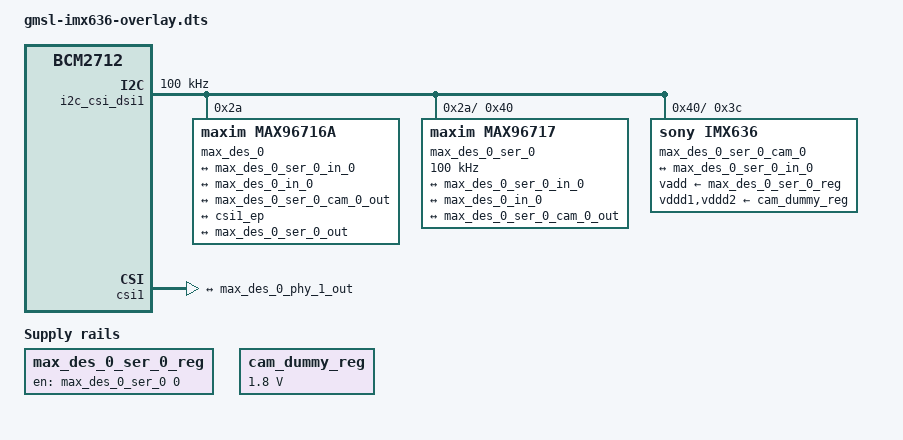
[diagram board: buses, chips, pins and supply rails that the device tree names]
/dts-v1/;
/plugin/;

/ {
    compatible = "brcm,bcm2712";

    fragment@0 {
        target = <&i2c_csi_dsi1>;
        __overlay__ {
            status = "okay";
            clock-frequency = <100000>;

            max_des_0: gmsl-deserializer@2a {
                compatible = "maxim,max96716a";
                reg = <0x2a>;
                #address-cells = <1>;
                #size-cells = <0>;
                i2c-alias-pool = <0x70 0x71 0x72 0x73>;

                max_des_0_i2c_adapter: i2c-atr {
                    #address-cells = <1>;
                    #size-cells = <0>;
                };

                ports {
                    #address-cells = <1>;
                    #size-cells = <0>;

                    port@3 {
                        reg = <3>;
                        max_des_0_phy_1_out: endpoint {
                            clock-lanes = <0>;
                            data-lanes = <1 2>;
                            link-frequencies = /bits/ 64 <750000000>;
                            remote-endpoint = <&csi1_ep>;
                        };
                    };

                    port@0 {
                        reg = <0>;
                        max_des_0_in_0: endpoint {
                            remote-endpoint = <&max_des_0_ser_0_out>;
                        };
                    };
                };
            };
        };
    };

    fragment@1 {
        target = <&csi1>;
        __overlay__ {
            status = "okay";
            brcm,media-controller;

            port {
                csi1_ep: endpoint {
                    remote-endpoint = <&max_des_0_phy_1_out>;
                    clock-lanes = <0>;
                    data-lanes = <1 2>;
                    link-frequencies = /bits/ 64 <750000000>;
                    clock-noncontinuous;
                };
            };
        };
    };

    fragment@2 {
        target = <&max_des_0_i2c_adapter>;
        __overlay__ {
            max_des_0_i2c_0: i2c@0 {
                reg = <0>;
                #address-cells = <1>;
                #size-cells = <0>;
            };
        };
    };

    fragment@3 {
        target = <&max_des_0_i2c_0>;
        __overlay__ {
            max_des_0_ser_0: gmsl-serializer@40 {
                compatible = "maxim,max96717";
                reg = <0x40>;
                #address-cells = <1>;
                #size-cells = <0>;
                #gpio-cells = <2>;
                #clock-cells = <0>;
                clock-frequency = <100000>;

                gpio-controller;
                gpio-ranges = <&max_des_0_ser_0 0 0 11>;
                i2c-alias-pool = <0x50 0x51>;

                i2c-atr {
                    #address-cells = <1>;
                    #size-cells = <0>;
                    max_des_0_ser_0_i2c_0: i2c@0 {
                        reg = <0>;
                        #address-cells = <1>;
                        #size-cells = <0>;
                    };
                };

                ports {
                    #address-cells = <1>;
                    #size-cells = <0>;

                    port@1 {
                        reg = <1>;
                        max_des_0_ser_0_out: endpoint {
                            remote-endpoint = <&max_des_0_in_0>;
                        };
                    };

                    port@0 {
                        reg = <0>;
                        max_des_0_ser_0_in_0: endpoint {
                            clock-lanes = <0>;
                            data-lanes = <1 2>;
                            clock-noncontinuous;
                            link-frequencies = /bits/ 64 <750000000>;
                            remote-endpoint = <&max_des_0_ser_0_cam_0_out>;
                        };
                    };
                };
            };
        };
    };

    fragment@4 {
        target-path = "/";
        __overlay__ {
            max_des_0_ser_0_cam_0_xclk: max_des_0_ser_0_cam_0_xclk {
                compatible = "fixed-clock";
                #clock-cells = <0>;
                clock-frequency = <20000000>;
            };

            max_des_0_ser_0_reg: max_des_0_ser_0_reg {
                compatible = "regulator-fixed";
                regulator-name = "max_des_0_ser_0_reg";
                enable-active-high;
            };

            cam_dummy_reg: cam-dummy-regulator {
                compatible = "regulator-fixed";
                regulator-name = "cam_dummy_reg";
                regulator-min-microvolt = <1800000>;
                regulator-max-microvolt = <1800000>;
                regulator-always-on;
            };
        };
    };

/*
    fragment@5 {
        target = <&max_des_0_ser_0>;
        __overlay__ {
            gpio-line-names =
                "ser_gpio0", "ser_gpio1", "ser_gpio2", "ser_gpio3",
                "ser_gpio4", "ser_gpio5", "ser_gpio6", "ser_gpio7",
                "ser_gpio8", "ser_gpio9", "ser_gpio10";
        };
    };
*/

    fragment@6 {
        target = <&max_des_0_ser_0_reg>;
        __overlay__ {
            gpio = <&max_des_0_ser_0 0 0>;
            startup-delay-us = <5000>;
        };
    };

    fragment@7 {
        target = <&max_des_0_ser_0_i2c_0>;
        __overlay__ {
            max_des_0_ser_0_cam_0: imx636@3c {
                compatible = "sony,imx636";
                reg = <0x3c>;

                clocks = <&max_des_0_ser_0_cam_0_xclk>;
                clock-names = "inclk";

                vadd-supply  = <&max_des_0_ser_0_reg>;
                vddd1-supply = <&cam_dummy_reg>;
                vddd2-supply = <&cam_dummy_reg>;

                rstn-delay-ms = <500>;
		/*nreset-gpio = <&max_des_0_ser_0 0 3>;*/

                port {
                    max_des_0_ser_0_cam_0_out: endpoint {
                        clock-lanes = <0>;
                        data-lanes = <1 2>;
                        clock-noncontinuous;
                        link-frequencies = /bits/ 64 <750000000>;
                        remote-endpoint = <&max_des_0_ser_0_in_0>;
                    };
                };
            };
        };
    };

    __overrides__ {
    };
};
